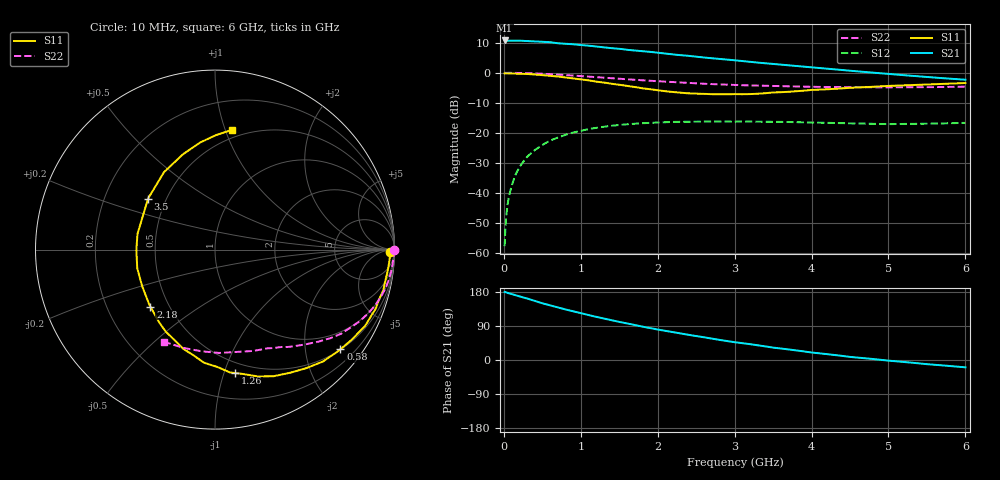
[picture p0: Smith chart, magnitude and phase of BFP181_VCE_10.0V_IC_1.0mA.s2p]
! Infineon Technologies  Discrete & RF Semiconductors
! BFP181
! VCE = 10.0V,  IC =  1.0 mA
! Common Emitter S-Parameters:  Jan 2016
# GHz  S  MA  R  50
!  f  S11  S21  S12  S22
! GHz  MAG  ANG  MAG  ANG  MAG  ANG  MAG  ANG
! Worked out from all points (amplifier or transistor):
!   210 points, 10 MHz to 6 GHz, reference 50 ohm
!   highest |S21| = 10.7 dB at 10 MHz (marker M1)
!   |S21| within 3 dB of that: start of sweep to 1.57 GHz
!   unconditionally stable (mu >= 1): 3.178 GHz to end of sweep
!   at 185 MHz: K = 0.08, MSG = 21.4 dB, |S12| = -32.3 dB
!   at 1.52 GHz: K = 0.52, MSG = 12.6 dB, |S12| = -17.3 dB
!   at 6 GHz: K = 1.28, MAG = 4.0 dB, |S12| = -16.7 dB
!   S11 on the Smith chart (normalised r, x): 10 MHz: 61, -34; 580 MHz: 0.51, -2.78; 1.26 GHz: 0.41, -1.09; 2.18 GHz: 0.39, -0.33; 3.5 GHz: 0.40, +0.29; 6 GHz: 0.43, +1.06
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0.01  0.9755 -0.8  3.439 179.4  0.0013 86.2  0.9983 -0.2
0.025  0.9769 -1.4  3.409 178.8  0.0032 86.5  0.9924 -0.8
0.05  0.9751 -3.0  3.413 177.0  0.0066 90.8  0.9958 -1.7
0.09  0.9705 -6.2  3.405 174.7  0.0116 86.4  0.9945 -2.9
0.15  0.9646 -9.9  3.384 171.0  0.0198 82.6  0.9925 -4.8
0.3  0.954 -20.1  3.359 162.5  0.0394 76.6  0.9834 -9.7
0.4  0.9381 -26.9  3.324 155.7  0.0513 72.3  0.9745 -12.8
0.58  0.8925 -38.5  3.228 145.4  0.0718 64.3  0.9493 -18.2
0.8  0.8336 -52.4  3.048 133.5  0.0926 55.7  0.9142 -24.1
1.02  0.7704 -66.4  2.874 122.3  0.1094 47.9  0.875 -29.5
1.26  0.6971 -80.7  2.676 111.2  0.1242 40.0  0.8339 -34.8
1.5  0.6335 -95.5  2.506 100.5  0.135 33.7  0.7915 -39.3
1.8  0.5503 -114.7  2.291 88.0  0.1444 27.0  0.7484 -44.1
2.02  0.5066 -128.7  2.135 79.7  0.1489 22.4  0.7193 -47.6
2.18  0.4801 -138.6  2.023 74.0  0.1515 19.4  0.7005 -50.1
2.4  0.454 -153.5  1.91 66.3  0.1534 15.6  0.6761 -53.4
2.78  0.4379 -178.3  1.707 53.9  0.1542 10.5  0.6413 -58.6
3.1  0.4388 163.2  1.561 44.5  0.1537 6.6  0.6188 -63.3
3.5  0.4689 142.7  1.401 32.7  0.1532 2.7  0.6036 -69.3
4.1  0.5224 120.3  1.195 17.7  0.1471 -0.9  0.5802 -79.9
5.1  0.6087 96.1  0.932 -3.4  0.1399 -2.5  0.5708 -99.9
6  0.6738 81.9  0.764 -19.4  0.1464 -0.5  0.5865 -118.8
